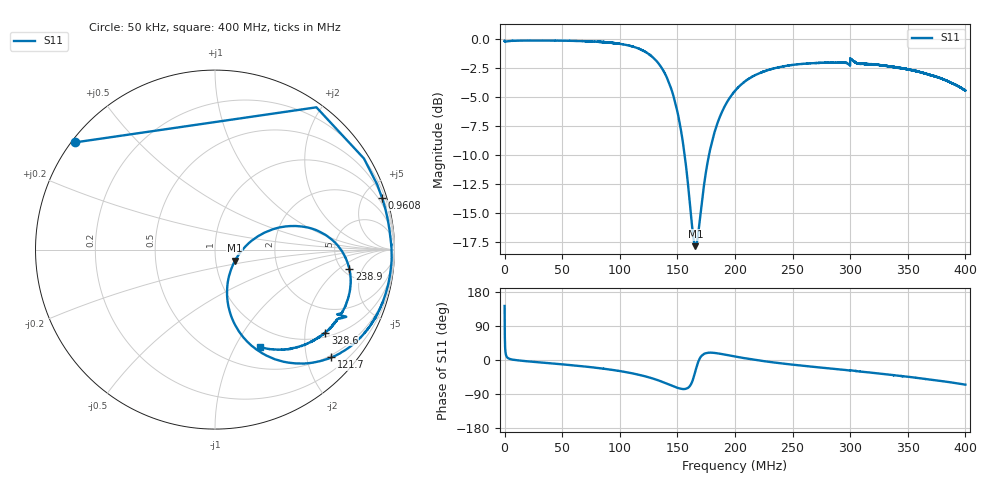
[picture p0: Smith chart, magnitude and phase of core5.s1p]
# HZ S RI R 50
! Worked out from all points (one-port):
!   10100 points, 50 kHz to 400 MHz, reference 50 ohm
!   lowest |S11| = -17.9 dB at 165.7 MHz (marker M1), VSWR 1.29, Z = 62 - j7.83 ohm
!   |S11| at or under -10 dB: 156.3 MHz to 177.5 MHz (21.21 MHz wide, 12.7 % of centre)
!   S11 on the Smith chart (normalised r, x): 50 kHz: 0.01, +0.34; 960.8 kHz: 0.56, +6.53; 121.7 MHz: 0.45, -2.48; 238.9 MHz: 5.69, -2.93; 328.6 MHz: 1.13, -2.55; 400 MHz: 0.75, -1.27
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50000  -0.7808 0.5971
960800  0.9307 0.2899
2148900  0.9697 0.1257
3020200  0.9753 0.084
5554803  0.9805 0.0331
1.145561e7  0.984 -0.0141
5.006854e7  0.9645 -0.196
7.802826e7  0.9161 -0.3341
1.000476e8  0.8334 -0.4648
1.216708e8  0.6486 -0.6
1.378288e8  0.3793 -0.6241
1.440069e8  0.2514 -0.5703
1.500661e8  0.139 -0.4637
1.578678e8  0.0678 -0.2637
1.632935e8  0.087 -0.1184
1.656697e8  0.1111 -0.0622
1.67927e8  0.1414 -0.0154
1.727982e8  0.2192 0.0607
1.807188e8  0.3512 0.1215
1.890354e8  0.4702 0.1303
2.000452e8  0.5895 0.0964
2.174308e8  0.6983 0.00438
2.388561e8  0.7489 -0.1099
2.500241e8  0.7558 -0.1639
3.000427e8  0.7349 -0.3682
3.285964e8  0.6145 -0.4623
3.500217e8  0.5296 -0.5157
4.000007e8  0.2528 -0.543
